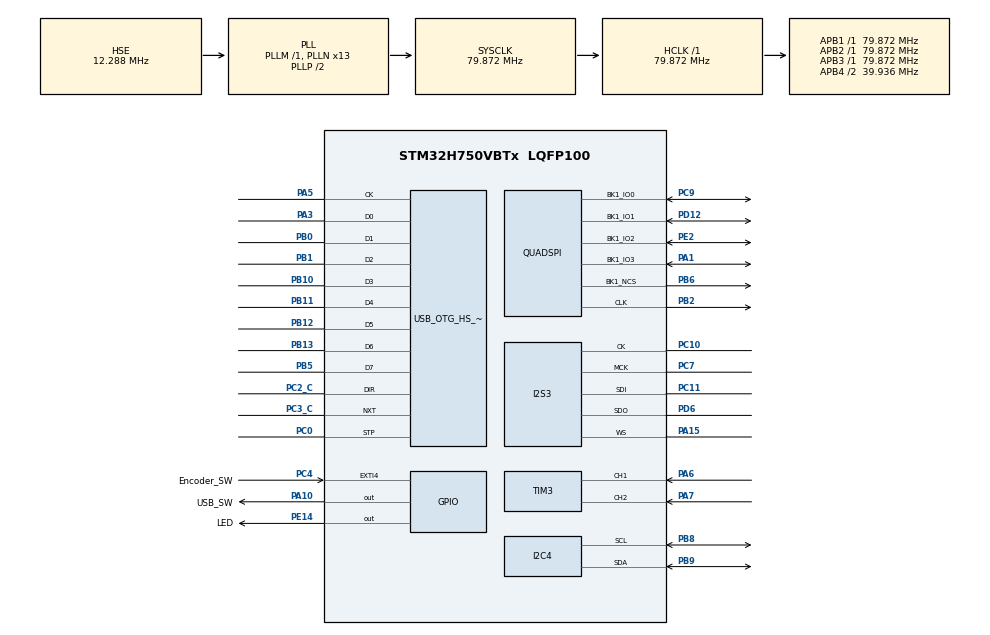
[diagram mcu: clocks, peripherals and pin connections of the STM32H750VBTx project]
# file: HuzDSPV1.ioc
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CORTEX_M7.default_mode_Activation=1
Dma.Request0=SPI3_RX
Dma.Request1=SPI3_TX
Dma.SPI3_RX.0.Direction=DMA_PERIPH_TO_MEMORY
Dma.SPI3_RX.0.EventEnable=DISABLE
Dma.SPI3_RX.0.FIFOMode=DMA_FIFOMODE_DISABLE
Dma.SPI3_RX.0.Instance=DMA1_Stream0
Dma.SPI3_RX.0.MemDataAlignment=DMA_MDATAALIGN_WORD
Dma.SPI3_RX.0.MemInc=DMA_MINC_ENABLE
Dma.SPI3_RX.0.Mode=DMA_CIRCULAR
Dma.SPI3_RX.0.PeriphDataAlignment=DMA_PDATAALIGN_WORD
Dma.SPI3_RX.0.PeriphInc=DMA_PINC_DISABLE
Dma.SPI3_RX.0.Polarity=HAL_DMAMUX_REQ_GEN_RISING
Dma.SPI3_RX.0.Priority=DMA_PRIORITY_VERY_HIGH
Dma.SPI3_RX.0.RequestNumber=1
Dma.SPI3_RX.0.SignalID=NONE
Dma.SPI3_RX.0.SyncEnable=DISABLE
Dma.SPI3_RX.0.SyncPolarity=HAL_DMAMUX_SYNC_NO_EVENT
Dma.SPI3_RX.0.SyncRequestNumber=1
Dma.SPI3_RX.0.SyncSignalID=NONE
Dma.SPI3_TX.1.Direction=DMA_MEMORY_TO_PERIPH
Dma.SPI3_TX.1.EventEnable=DISABLE
Dma.SPI3_TX.1.FIFOMode=DMA_FIFOMODE_DISABLE
Dma.SPI3_TX.1.Instance=DMA1_Stream1
Dma.SPI3_TX.1.MemDataAlignment=DMA_MDATAALIGN_WORD
Dma.SPI3_TX.1.MemInc=DMA_MINC_ENABLE
Dma.SPI3_TX.1.Mode=DMA_CIRCULAR
Dma.SPI3_TX.1.PeriphDataAlignment=DMA_PDATAALIGN_WORD
Dma.SPI3_TX.1.PeriphInc=DMA_PINC_DISABLE
Dma.SPI3_TX.1.Polarity=HAL_DMAMUX_REQ_GEN_RISING
Dma.SPI3_TX.1.Priority=DMA_PRIORITY_VERY_HIGH
Dma.SPI3_TX.1.RequestNumber=1
Dma.SPI3_TX.1.SignalID=NONE
Dma.SPI3_TX.1.SyncEnable=DISABLE
Dma.SPI3_TX.1.SyncPolarity=HAL_DMAMUX_SYNC_NO_EVENT
Dma.SPI3_TX.1.SyncRequestNumber=1
Dma.SPI3_TX.1.SyncSignalID=NONE
FREERTOS.Tasks01=defaultTask,0,128,StartDefaultTask,Default,NULL,Dynamic,NULL,NULL;UITask,2,1024,StartUITask,Default,NULL,Dynamic,NULL,NULL;AudioProcTask,3,1024,StartAudioProcTask,Default,NULL,Dynamic,NULL,NULL
FREERTOS.configUSE_NEWLIB_REENTRANT=1
I2C4.Timing=0x00909BEA
I2S3.AudioFreq=I2S_AUDIOFREQ_48K
I2S3.DataFormat=I2S_DATAFORMAT_24B
I2S3.ErrorAudioFreq=0.0 %
I2S3.Instance=SPI$Index
I2S3.RealAudioFreq=48.0 KHz
Mcu.Family=STM32H7
Mcu.Name=STM32H750VBTx
Mcu.Package=LQFP100
NVIC.DMA1_Stream0_IRQn=true\:7\:0\:true\:false\:true\:true\:false\:true\:true
NVIC.DMA1_Stream1_IRQn=true\:7\:0\:true\:false\:true\:true\:false\:true\:true
NVIC.EXTI4_IRQn=true\:7\:0\:true\:false\:true\:true\:true\:true\:true
NVIC.PriorityGroup=NVIC_PRIORITYGROUP_4
NVIC.TIM1_UP_IRQn=true\:15\:0\:false\:false\:true\:false\:false\:true\:true
NVIC.TIM3_IRQn=true\:5\:0\:false\:false\:true\:true\:true\:true\:true
NVIC.TimeBase=TIM1_UP_IRQn
NVIC.TimeBaseIP=TIM1
PA1.Mode=Single Bank 1
PA1.Signal=QUADSPI_BK1_IO3
PA10.GPIO_Label=USB_SW
PA10.Signal=GPIO_Output
PA13\ (JTMS/SWDIO).Mode=Serial_Wire
PA13\ (JTMS/SWDIO).Signal=DEBUG_JTMS-SWDIO
PA14\ (JTCK/SWCLK).Mode=Serial_Wire
PA14\ (JTCK/SWCLK).Signal=DEBUG_JTCK-SWCLK
PA15\ (JTDI).Mode=Full_Duplex_Master
PA15\ (JTDI).Signal=I2S3_WS
PA3.Mode=Device_HS
PA3.Signal=USB_OTG_HS_ULPI_D0
PA5.Mode=Device_HS
PA5.Signal=USB_OTG_HS_ULPI_CK
PA6.Signal=S_TIM3_CH1
PA7.Signal=S_TIM3_CH2
PB0.Mode=Device_HS
PB0.Signal=USB_OTG_HS_ULPI_D1
PB1.Mode=Device_HS
PB1.Signal=USB_OTG_HS_ULPI_D2
PB10.Mode=Device_HS
PB10.Signal=USB_OTG_HS_ULPI_D3
PB11.Mode=Device_HS
PB11.Signal=USB_OTG_HS_ULPI_D4
PB12.Mode=Device_HS
PB12.Signal=USB_OTG_HS_ULPI_D5
PB13.Mode=Device_HS
PB13.Signal=USB_OTG_HS_ULPI_D6
PB2.Mode=Single Bank 1
PB2.Signal=QUADSPI_CLK
PB5.Mode=Device_HS
PB5.Signal=USB_OTG_HS_ULPI_D7
PB6.Mode=Single Bank 1
PB6.Signal=QUADSPI_BK1_NCS
PB8.Mode=I2C
PB8.Signal=I2C4_SCL
PB9.Mode=I2C
PB9.Signal=I2C4_SDA
PC0.Mode=Device_HS
PC0.Signal=USB_OTG_HS_ULPI_STP
PC10.Mode=Full_Duplex_Master
PC10.Signal=I2S3_CK
PC11.Mode=Full_Duplex_Master
PC11.Signal=I2S3_SDI
PC2_C.Mode=Device_HS
PC2_C.Signal=USB_OTG_HS_ULPI_DIR
PC3_C.Mode=Device_HS
PC3_C.Signal=USB_OTG_HS_ULPI_NXT
PC4.GPIO_Label=Encoder_SW
PC4.GPIO_ModeDefaultEXTI=GPIO_MODE_IT_FALLING
PC4.Signal=GPXTI4
PC7.Mode=Master_Clock_Activated
PC7.Signal=I2S3_MCK
PC9.Mode=Single Bank 1
PC9.Signal=QUADSPI_BK1_IO0
PD12.Mode=Single Bank 1
PD12.Signal=QUADSPI_BK1_IO1
PD6.Mode=Full_Duplex_Master
PD6.Signal=I2S3_SDO
PE14.GPIO_Label=LED
PE14.Signal=GPIO_Output
PE2.Mode=Single Bank 1
PE2.Signal=QUADSPI_BK1_IO2
PH0-OSC_IN\ (PH0).Mode=HSE-External-Oscillator
PH0-OSC_IN\ (PH0).Signal=RCC_OSC_IN
PH1-OSC_OUT\ (PH1).Mode=HSE-External-Oscillator
PH1-OSC_OUT\ (PH1).Signal=RCC_OSC_OUT
ProjectManager.HeapSize=0x200
ProjectManager.StackSize=0x400
ProjectManager.TargetToolchain=STM32CubeIDE
RCC.ADCFreq_Value=79872000
RCC.APB1Freq_Value=79872000
RCC.APB2Freq_Value=79872000
RCC.APB3Freq_Value=79872000
RCC.APB4Freq_Value=39936000
RCC.CKPERSourceSelection=RCC_CLKPSOURCE_HSE
RCC.CortexFreq_Value=79872000
RCC.D3PPRE=RCC_APB4_DIV2
RCC.DIVM1=1
RCC.DIVM2=1
RCC.DIVM3=1
RCC.DIVN1=13
RCC.DIVN2=13
RCC.DIVN3=16
RCC.DIVP3=16
RCC.DIVQ1=12
RCC.DIVQ3=8
RCC.DIVR3=8
RCC.EnbaleCSS=true
RCC.HCLKFreq_Value=79872000
RCC.HSE_VALUE=12288000
RCC.PLL2FRACN=0
RCC.PLL3FRACN=0
RCC.PLLFRACN=0
RCC.PLLSourceVirtual=RCC_PLLSOURCE_HSE
RCC.SPI123CLockSelection=RCC_SPI123CLKSOURCE_PLL3
RCC.SYSCLKFreq_VALUE=79872000
RCC.SYSCLKSource=RCC_SYSCLKSOURCE_PLLCLK
RCC.USBCLockSelection=RCC_USBCLKSOURCE_HSI48
RCC.USBFreq_Value=48000000
SH.S_TIM3_CH1.0=TIM3_CH1,Encoder_Interface
SH.S_TIM3_CH2.0=TIM3_CH2,Encoder_Interface
TIM3.EncoderMode=TIM_ENCODERMODE_TI12
TIM3.IC1Filter=10
TIM3.IC2Filter=10
USB_OTG_HS.VirtualMode-Device_HS=Device_HS
VP_FREERTOS_VS_CMSIS_V1.Mode=CMSIS_V1
VP_MEMORYMAP_VS_MEMORYMAP.Mode=CurAppReg
VP_SYS_VS_tim1.Mode=TIM1
board=custom

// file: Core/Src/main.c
/* USER CODE BEGIN Header */
/**
  ******************************************************************************
  * @file           : main.c
  * @brief          : Main program body
  ******************************************************************************
  * @attention
  *
  * Copyright (c) 2025 STMicroelectronics.
  * All rights reserved.
  *
  * This software is licensed under terms that can be found in the LICENSE file
  * in the root directory of this software component.
  * If no LICENSE file comes with this software, it is provided AS-IS.
  *
  ******************************************************************************
  */
/* USER CODE END Header */
#include "main.h"
#include "cmsis_os.h"

/* USER CODE BEGIN Includes */
#include "UI/UI_Init.h"
#include "UI/UI_Update.h"

#include "DSP/DSP_Init.h"

#include "ssd1306.h"
#include "ssd1306_fonts.h"
/* USER CODE END Includes */

I2C_HandleTypeDef hi2c4;

I2S_HandleTypeDef hi2s3;
DMA_HandleTypeDef hdma_spi3_rx;
DMA_HandleTypeDef hdma_spi3_tx;

QSPI_HandleTypeDef hqspi;

TIM_HandleTypeDef htim3;

PCD_HandleTypeDef hpcd_USB_OTG_HS;

osThreadId defaultTaskHandle;
osThreadId UITaskHandle;
/* USER CODE BEGIN PV */
xQueueHandle xUserInputEvent;

uint32_t currTime = 0;
uint32_t prevTime = 0;
/* USER CODE END PV */

void SystemClock_Config(void);
static void MPU_Config(void);
static void MX_GPIO_Init(void);
static void MX_DMA_Init(void);
static void MX_I2C4_Init(void);
static void MX_I2S3_Init(void);
static void MX_USB_OTG_HS_PCD_Init(void);
static void MX_QUADSPI_Init(void);
static void MX_TIM3_Init(void);
void StartDefaultTask(void const * argument);
void StartUITask(void const * argument);

int main(void)
{

  /* MPU Configuration--------------------------------------------------------*/
  MPU_Config();

  /* MCU Configuration--------------------------------------------------------*/

  /* Reset of all peripherals, Initializes the Flash interface and the Systick. */
  HAL_Init();

  /* Configure the system clock */
  SystemClock_Config();

  /* Initialize all configured peripherals */
  MX_GPIO_Init();
  MX_DMA_Init();
  MX_I2C4_Init();
  MX_I2S3_Init();
  MX_USB_OTG_HS_PCD_Init();
  MX_QUADSPI_Init();
  MX_TIM3_Init();
  /* USER CODE BEGIN 2 */
  UI_Init();
  HAL_TIM_Encoder_Start(&htim3, TIM_CHANNEL_ALL); // begin reading encoder
  /* USER CODE END 2 */

  /* USER CODE BEGIN RTOS_QUEUES */
  xUserInputEvent = xQueueCreate(16, sizeof(UI_event_t));
  /* USER CODE END RTOS_QUEUES */

  /* Create the thread(s) */
  /* definition and creation of defaultTask */
  osThreadDef(defaultTask, StartDefaultTask, osPriorityNormal, 0, 128);
  defaultTaskHandle = osThreadCreate(osThread(defaultTask), NULL);

  /* definition and creation of UITask */
  osThreadDef(UITask, StartUITask, osPriorityNormal, 0, 1024);
  UITaskHandle = osThreadCreate(osThread(UITask), NULL);

  /* Start scheduler */
  osKernelStart();

  /* We should never get here as control is now taken by the scheduler */

  /* Infinite loop */
  while (1)
  {

  }
}

void SystemClock_Config(void)
{
  RCC_OscInitTypeDef RCC_OscInitStruct = {0};
  RCC_ClkInitTypeDef RCC_ClkInitStruct = {0};

  /** Supply configuration update enable
  */
  HAL_PWREx_ConfigSupply(PWR_LDO_SUPPLY);

  /** Configure the main internal regulator output voltage
  */
  __HAL_PWR_VOLTAGESCALING_CONFIG(PWR_REGULATOR_VOLTAGE_SCALE3);

  while(!__HAL_PWR_GET_FLAG(PWR_FLAG_VOSRDY)) {}

  /** Initializes the RCC Oscillators according to the specified parameters
  * in the RCC_OscInitTypeDef structure.
  */
  RCC_OscInitStruct.OscillatorType = RCC_OSCILLATORTYPE_HSI48|RCC_OSCILLATORTYPE_HSE;
  RCC_OscInitStruct.HSEState = RCC_HSE_ON;
  RCC_OscInitStruct.HSI48State = RCC_HSI48_ON;
  RCC_OscInitStruct.PLL.PLLState = RCC_PLL_ON;
  RCC_OscInitStruct.PLL.PLLSource = RCC_PLLSOURCE_HSE;
  RCC_OscInitStruct.PLL.PLLM = 1;
  RCC_OscInitStruct.PLL.PLLN = 13;
  RCC_OscInitStruct.PLL.PLLP = 2;
  RCC_OscInitStruct.PLL.PLLQ = 12;
  RCC_OscInitStruct.PLL.PLLR = 2;
  RCC_OscInitStruct.PLL.PLLRGE = RCC_PLL1VCIRANGE_3;
  RCC_OscInitStruct.PLL.PLLVCOSEL = RCC_PLL1VCOMEDIUM;
  RCC_OscInitStruct.PLL.PLLFRACN = 0;
  if (HAL_RCC_OscConfig(&RCC_OscInitStruct) != HAL_OK)
  {
    Error_Handler();
  }

  /** Initializes the CPU, AHB and APB buses clocks
  */
  RCC_ClkInitStruct.ClockType = RCC_CLOCKTYPE_HCLK|RCC_CLOCKTYPE_SYSCLK
                              |RCC_CLOCKTYPE_PCLK1|RCC_CLOCKTYPE_PCLK2
                              |RCC_CLOCKTYPE_D3PCLK1|RCC_CLOCKTYPE_D1PCLK1;
  RCC_ClkInitStruct.SYSCLKSource = RCC_SYSCLKSOURCE_PLLCLK;
  RCC_ClkInitStruct.SYSCLKDivider = RCC_SYSCLK_DIV1;
  RCC_ClkInitStruct.AHBCLKDivider = RCC_HCLK_DIV1;
  RCC_ClkInitStruct.APB3CLKDivider = RCC_APB3_DIV1;
  RCC_ClkInitStruct.APB1CLKDivider = RCC_APB1_DIV1;
  RCC_ClkInitStruct.APB2CLKDivider = RCC_APB2_DIV1;
  RCC_ClkInitStruct.APB4CLKDivider = RCC_APB4_DIV2;

  if (HAL_RCC_ClockConfig(&RCC_ClkInitStruct, FLASH_LATENCY_1) != HAL_OK)
  {
    Error_Handler();
  }

  /** Enables the Clock Security System
  */
  HAL_RCC_EnableCSS();
}

static void MX_I2C4_Init(void)
{

  hi2c4.Instance = I2C4;
  hi2c4.Init.Timing = 0x00909BEA;
  hi2c4.Init.OwnAddress1 = 0;
  hi2c4.Init.AddressingMode = I2C_ADDRESSINGMODE_7BIT;
  hi2c4.Init.DualAddressMode = I2C_DUALADDRESS_DISABLE;
  hi2c4.Init.OwnAddress2 = 0;
  hi2c4.Init.OwnAddress2Masks = I2C_OA2_NOMASK;
  hi2c4.Init.GeneralCallMode = I2C_GENERALCALL_DISABLE;
  hi2c4.Init.NoStretchMode = I2C_NOSTRETCH_DISABLE;
  if (HAL_I2C_Init(&hi2c4) != HAL_OK)
  {
    Error_Handler();
  }

  /** Configure Analogue filter
  */
  if (HAL_I2CEx_ConfigAnalogFilter(&hi2c4, I2C_ANALOGFILTER_ENABLE) != HAL_OK)
  {
    Error_Handler();
  }

  /** Configure Digital filter
  */
  if (HAL_I2CEx_ConfigDigitalFilter(&hi2c4, 0) != HAL_OK)
  {
    Error_Handler();
  }

}

static void MX_I2S3_Init(void)
{

  hi2s3.Instance = SPI3;
  hi2s3.Init.Mode = I2S_MODE_MASTER_FULLDUPLEX;
  hi2s3.Init.Standard = I2S_STANDARD_PHILIPS;
  hi2s3.Init.DataFormat = I2S_DATAFORMAT_24B;
  hi2s3.Init.MCLKOutput = I2S_MCLKOUTPUT_ENABLE;
  hi2s3.Init.AudioFreq = I2S_AUDIOFREQ_48K;
  hi2s3.Init.CPOL = I2S_CPOL_LOW;
  hi2s3.Init.FirstBit = I2S_FIRSTBIT_MSB;
  hi2s3.Init.WSInversion = I2S_WS_INVERSION_DISABLE;
  hi2s3.Init.Data24BitAlignment = I2S_DATA_24BIT_ALIGNMENT_RIGHT;
  hi2s3.Init.MasterKeepIOState = I2S_MASTER_KEEP_IO_STATE_DISABLE;
  if (HAL_I2S_Init(&hi2s3) != HAL_OK)
  {
    Error_Handler();
  }

}

static void MX_QUADSPI_Init(void)
{

  /* QUADSPI parameter configuration*/
  hqspi.Instance = QUADSPI;
  hqspi.Init.ClockPrescaler = 255;
  hqspi.Init.FifoThreshold = 1;
  hqspi.Init.SampleShifting = QSPI_SAMPLE_SHIFTING_NONE;
  hqspi.Init.FlashSize = 1;
  hqspi.Init.ChipSelectHighTime = QSPI_CS_HIGH_TIME_1_CYCLE;
  hqspi.Init.ClockMode = QSPI_CLOCK_MODE_0;
  hqspi.Init.FlashID = QSPI_FLASH_ID_1;
  hqspi.Init.DualFlash = QSPI_DUALFLASH_DISABLE;
  if (HAL_QSPI_Init(&hqspi) != HAL_OK)
  {
    Error_Handler();
  }

}

static void MX_TIM3_Init(void)
{

  TIM_Encoder_InitTypeDef sConfig = {0};
  TIM_MasterConfigTypeDef sMasterConfig = {0};

  htim3.Instance = TIM3;
  htim3.Init.Prescaler = 0;
  htim3.Init.CounterMode = TIM_COUNTERMODE_UP;
  htim3.Init.Period = 65535;
  htim3.Init.ClockDivision = TIM_CLOCKDIVISION_DIV1;
  htim3.Init.AutoReloadPreload = TIM_AUTORELOAD_PRELOAD_DISABLE;
  sConfig.EncoderMode = TIM_ENCODERMODE_TI12;
  sConfig.IC1Polarity = TIM_ICPOLARITY_RISING;
  sConfig.IC1Selection = TIM_ICSELECTION_DIRECTTI;
  sConfig.IC1Prescaler = TIM_ICPSC_DIV1;
  sConfig.IC1Filter = 10;
  sConfig.IC2Polarity = TIM_ICPOLARITY_RISING;
  sConfig.IC2Selection = TIM_ICSELECTION_DIRECTTI;
  sConfig.IC2Prescaler = TIM_ICPSC_DIV1;
  sConfig.IC2Filter = 10;
  if (HAL_TIM_Encoder_Init(&htim3, &sConfig) != HAL_OK)
  {
    Error_Handler();
  }
  sMasterConfig.MasterOutputTrigger = TIM_TRGO_RESET;
  sMasterConfig.MasterSlaveMode = TIM_MASTERSLAVEMODE_DISABLE;
  if (HAL_TIMEx_MasterConfigSynchronization(&htim3, &sMasterConfig) != HAL_OK)
  {
    Error_Handler();
  }

}

static void MX_USB_OTG_HS_PCD_Init(void)
{

  hpcd_USB_OTG_HS.Instance = USB_OTG_HS;
  hpcd_USB_OTG_HS.Init.dev_endpoints = 9;
  hpcd_USB_OTG_HS.Init.speed = PCD_SPEED_HIGH;
  hpcd_USB_OTG_HS.Init.dma_enable = DISABLE;
  hpcd_USB_OTG_HS.Init.phy_itface = USB_OTG_ULPI_PHY;
  hpcd_USB_OTG_HS.Init.Sof_enable = DISABLE;
  hpcd_USB_OTG_HS.Init.low_power_enable = DISABLE;
  hpcd_USB_OTG_HS.Init.lpm_enable = DISABLE;
  hpcd_USB_OTG_HS.Init.vbus_sensing_enable = DISABLE;
  hpcd_USB_OTG_HS.Init.use_dedicated_ep1 = DISABLE;
  hpcd_USB_OTG_HS.Init.use_external_vbus = DISABLE;
  if (HAL_PCD_Init(&hpcd_USB_OTG_HS) != HAL_OK)
  {
    Error_Handler();
  }

}

static void MX_DMA_Init(void)
{

  /* DMA controller clock enable */
  __HAL_RCC_DMA1_CLK_ENABLE();

  /* DMA interrupt init */
  /* DMA1_Stream0_IRQn interrupt configuration */
  HAL_NVIC_SetPriority(DMA1_Stream0_IRQn, 5, 0);
  HAL_NVIC_EnableIRQ(DMA1_Stream0_IRQn);
  /* DMA1_Stream1_IRQn interrupt configuration */
  HAL_NVIC_SetPriority(DMA1_Stream1_IRQn, 5, 0);
  HAL_NVIC_EnableIRQ(DMA1_Stream1_IRQn);

}

static void MX_GPIO_Init(void)
{
  GPIO_InitTypeDef GPIO_InitStruct = {0};

  /* GPIO Ports Clock Enable */
  __HAL_RCC_GPIOE_CLK_ENABLE();
  __HAL_RCC_GPIOH_CLK_ENABLE();
  __HAL_RCC_GPIOC_CLK_ENABLE();
  __HAL_RCC_GPIOA_CLK_ENABLE();
  __HAL_RCC_GPIOB_CLK_ENABLE();
  __HAL_RCC_GPIOD_CLK_ENABLE();

  /*Configure GPIO pin Output Level */
  HAL_GPIO_WritePin(LED_GPIO_Port, LED_Pin, GPIO_PIN_RESET);

  /*Configure GPIO pin Output Level */
  HAL_GPIO_WritePin(USB_SW_GPIO_Port, USB_SW_Pin, GPIO_PIN_RESET);

  /*Configure GPIO pin : Encoder_SW_Pin */
  GPIO_InitStruct.Pin = Encoder_SW_Pin;
  GPIO_InitStruct.Mode = GPIO_MODE_IT_FALLING;
  GPIO_InitStruct.Pull = GPIO_NOPULL;
  HAL_GPIO_Init(Encoder_SW_GPIO_Port, &GPIO_InitStruct);

  /*Configure GPIO pin : LED_Pin */
  GPIO_InitStruct.Pin = LED_Pin;
  GPIO_InitStruct.Mode = GPIO_MODE_OUTPUT_PP;
  GPIO_InitStruct.Pull = GPIO_NOPULL;
  GPIO_InitStruct.Speed = GPIO_SPEED_FREQ_LOW;
  HAL_GPIO_Init(LED_GPIO_Port, &GPIO_InitStruct);

  /*Configure GPIO pin : USB_SW_Pin */
  GPIO_InitStruct.Pin = USB_SW_Pin;
  GPIO_InitStruct.Mode = GPIO_MODE_OUTPUT_PP;
  GPIO_InitStruct.Pull = GPIO_NOPULL;
  GPIO_InitStruct.Speed = GPIO_SPEED_FREQ_LOW;
  HAL_GPIO_Init(USB_SW_GPIO_Port, &GPIO_InitStruct);

  /* EXTI interrupt init*/
  HAL_NVIC_SetPriority(EXTI4_IRQn, 5, 0);
  HAL_NVIC_EnableIRQ(EXTI4_IRQn);

}

/* USER CODE BEGIN 4 */
// ---------- Encoder Switch Interrupt Handle ---------
void HAL_GPIO_EXTI_Callback(uint16_t GPIO_Pin)
{
	BaseType_t xHigherPriorityTaskWoken = pdFALSE;
	UI_event_t event;

	currTime = HAL_GetTick();

	if(GPIO_Pin == Encoder_SW_Pin && (currTime - prevTime > 50)) {
		event.type = UI_EVENT_SWITCH;
		xQueueSendFromISR(xUserInputEvent, &event, &xHigherPriorityTaskWoken);
		portYIELD_FROM_ISR(xHigherPriorityTaskWoken);
		prevTime = currTime;
	  } else {
		  __NOP();
	  }
}

/* USER CODE END 4 */

void StartDefaultTask(void const * argument)
{
  for(;;)
  {
    osDelay(1);
  }
}

void StartUITask(void const * argument)
{
  /* USER CODE BEGIN StartUITask */
	UI_event_t event;
	UI_state.cnt_prev = TIM3->CNT;
  /* Infinite loop */
  for(;;)
  {
      UI_state.cnt_curr = TIM3->CNT;
      int32_t raw_delta = (int16_t)(UI_state.cnt_curr - UI_state.cnt_prev);

      int16_t delta = 0;
      if (raw_delta > 0)      delta = 1;
      else if (raw_delta < 0) delta = -1;

      if (xQueueReceive(xUserInputEvent, &event, 0) == pdPASS)
      {
          if (event.type == UI_EVENT_SWITCH)
          {
              UI_SwitchStates(&UI_state);
          }
      }

      if (delta != 0)
      {
          if (UI_state.active_page == UI_PAGE_VALUE_ENTRY)
          {
              uint32_t *val = &UI_state.parameter_values[UI_state.selected_effect][UI_state.current_parameter_pos];

              *val += delta;

              if (*val > 100) *val = 0;
              else if (*val < 0) *val = 100;
          }
          else
          {
              UI_UpdateSelection(&UI_state, delta);
          }
      }

      ssd1306_Fill(Black);
      UI_UpdateOLED(&UI_state);
      UI_DrawSelectedOption(&UI_state);
      ssd1306_UpdateScreen();

      UI_state.cnt_prev = UI_state.cnt_curr;
      osDelay(30);
  }
  /* USER CODE END StartUITask */
}

 /* MPU Configuration */

void MPU_Config(void)
{
  MPU_Region_InitTypeDef MPU_InitStruct = {0};

  /* Disables the MPU */
  HAL_MPU_Disable();

  /** Initializes and configures the Region and the memory to be protected
  */
  MPU_InitStruct.Enable = MPU_REGION_ENABLE;
  MPU_InitStruct.Number = MPU_REGION_NUMBER0;
  MPU_InitStruct.BaseAddress = 0x0;
  MPU_InitStruct.Size = MPU_REGION_SIZE_4GB;
  MPU_InitStruct.SubRegionDisable = 0x87;
  MPU_InitStruct.TypeExtField = MPU_TEX_LEVEL0;
  MPU_InitStruct.AccessPermission = MPU_REGION_NO_ACCESS;
  MPU_InitStruct.DisableExec = MPU_INSTRUCTION_ACCESS_DISABLE;
  MPU_InitStruct.IsShareable = MPU_ACCESS_SHAREABLE;
  MPU_InitStruct.IsCacheable = MPU_ACCESS_NOT_CACHEABLE;
  MPU_InitStruct.IsBufferable = MPU_ACCESS_NOT_BUFFERABLE;

  HAL_MPU_ConfigRegion(&MPU_InitStruct);
  /* Enables the MPU */
  HAL_MPU_Enable(MPU_PRIVILEGED_DEFAULT);

}

void HAL_TIM_PeriodElapsedCallback(TIM_HandleTypeDef *htim)
{
  if (htim->Instance == TIM1) {
    HAL_IncTick();
  }
}

void Error_Handler(void)
{
  __disable_irq();
  while (1)
  {
  }
}
